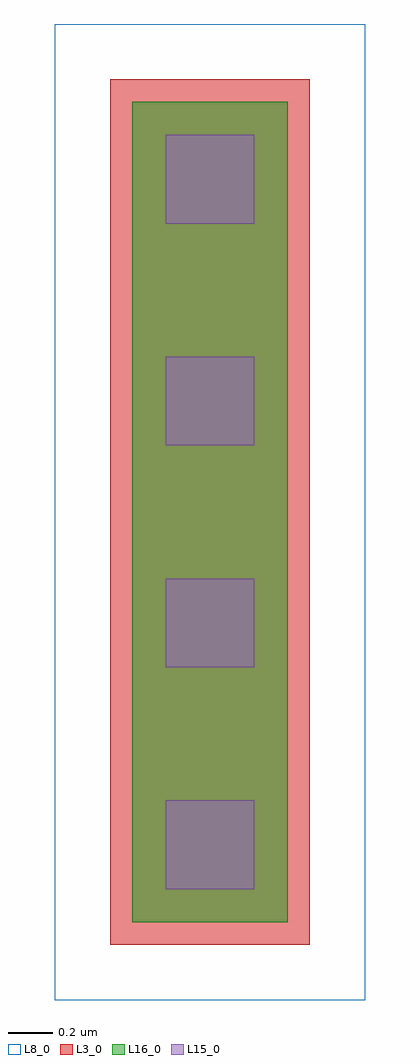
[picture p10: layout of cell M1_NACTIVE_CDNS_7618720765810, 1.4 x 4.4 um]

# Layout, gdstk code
import gdstk
lib = gdstk.Library(unit=1e-6, precision=1e-09)
def R(c, l, rs):  # rectangles x0, y0, x1, y1
    for r in rs: c.add(gdstk.rectangle(r[:2], r[2:], *l))
def A(c, l, x, y, w, h, nx, ny, dx, dy):  # array of equal rectangles
    R(c, l, [(x+i*dx, y+j*dy, x+i*dx+w, y+j*dy+h) for i in range(nx) for j in range(ny)])
L3_0 = (3, 0)
L8_0 = (8, 0)
L15_0 = (15, 0)
L16_0 = (16, 0)

m1_nactive_cdns_76187207 = lib.new_cell('M1_NACTIVE_CDNS_7618720765810')
R(m1_nactive_cdns_76187207, L3_0, [(-0.45,-1.95,0.45,1.95)])
R(m1_nactive_cdns_76187207, L8_0, [(-0.7,-2.2,0.7,2.2)])
A(m1_nactive_cdns_76187207, L15_0, -0.2, -1.7, 0.4, 0.4, 1, 4, 0, 1)
R(m1_nactive_cdns_76187207, L16_0, [(-0.35,-1.85,0.35,1.85)])

lib.write_gds('M1_NACTIVE_CDNS_7618720765810.gds')
